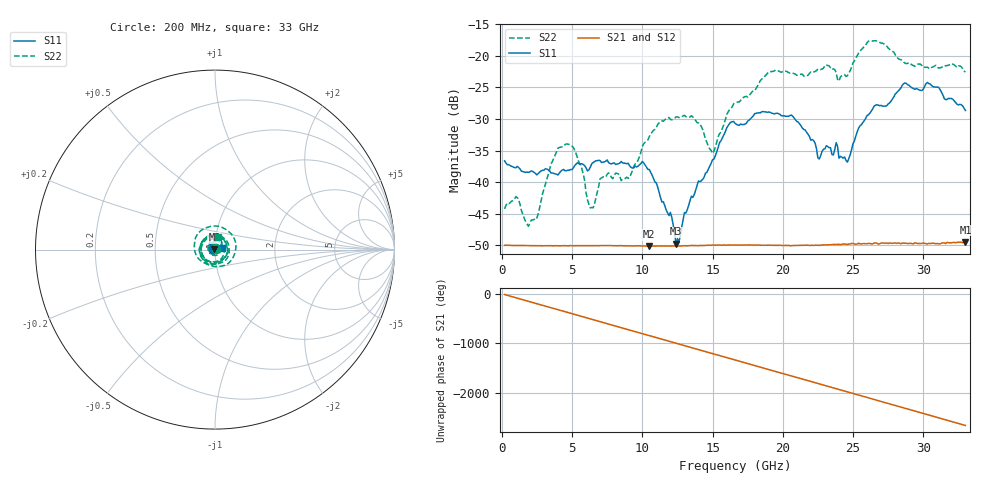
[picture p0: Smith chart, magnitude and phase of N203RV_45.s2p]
# GHZ S RI R 50
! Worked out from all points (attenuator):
!   329 points, 200 MHz to 33 GHz, reference 50 ohm
!   highest |S21| = -49.44 dB at 33 GHz (marker M1); lowest = -50.1 dB at 10.5 GHz (marker M2)
!   lowest |S11| = -49.7 dB at 12.4 GHz (marker M3), VSWR 1.01, Z = 49.7 + j0.0945 ohm
!   |S11| at or under -10 dB: start of sweep to end of sweep
!   |S22| runs from -47.0 to -17.6 dB; largest |S21 - S12| = 7.2e-05
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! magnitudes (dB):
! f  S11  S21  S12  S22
! 200 MHz  -36.6  -50.0  -50.0  -44.2
! 1 GHz  -37.7  -50.0  -50.0  -42.3
! 1.9 GHz  -38.4  -50.0  -50.0  -47.0
! 2.5 GHz  -38.8  -50.0  -50.0  -45.6
! 4 GHz  -38.9  -50.1  -50.0  -34.6
! 5.7 GHz  -37.1  -50.0  -50.0  -37.9
! 6.5 GHz  -36.9  -50.0  -50.0  -44.0
! 7 GHz  -36.6  -50.0  -50.0  -39.4
! 9.1 GHz  -37.4  -50.1  -50.1  -39.2
! 10.5 GHz  -38.0  -50.1  -50.1  -32.8
! 11.2 GHz  -41.6  -50.1  -50.1  -30.6
! 12.4 GHz  -49.7  -50.1  -50.1  -29.7
! 14.1 GHz  -39.9  -50.0  -50.0  -30.8
! 15 GHz  -36.5  -49.9  -49.9  -35.4
! 16.6 GHz  -30.7  -49.9  -49.9  -27.5
! 20.6 GHz  -29.4  -50.0  -50.0  -22.7
! 22.1 GHz  -33.2  -50.0  -49.9  -22.6
! 24.6 GHz  -36.8  -49.8  -49.8  -23.1
! 26.1 GHz  -29.3  -49.7  -49.6  -17.7
! 27.6 GHz  -27.5  -49.6  -49.6  -19.0
! 30.3 GHz  -24.2  -49.8  -49.7  -21.8
! 33 GHz  -28.6  -49.4  -49.4  -22.6
